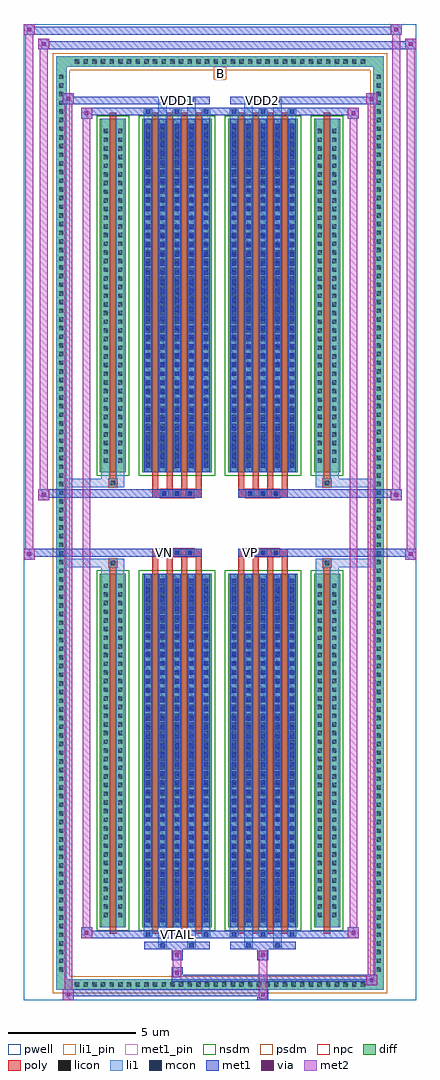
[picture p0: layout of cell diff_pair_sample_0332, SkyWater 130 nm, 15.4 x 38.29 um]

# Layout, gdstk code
import gdstk
lib = gdstk.Library(unit=1e-6, precision=5e-09)
def R(c, l, rs):  # rectangles x0, y0, x1, y1
    for r in rs: c.add(gdstk.rectangle(r[:2], r[2:], *l))
def A(c, l, x, y, w, h, nx, ny, dx, dy):  # array of equal rectangles
    R(c, l, [(x+i*dx, y+j*dy, x+i*dx+w, y+j*dy+h) for i in range(nx) for j in range(ny)])
def P(c, l, *ps):  # polygons
    for p in ps: c.add(gdstk.Polygon(p, *l))
pwell = (64, 44)
diff = (65, 20)
poly = (66, 20)
licon = (66, 44)
li1_pin = (67, 16)
li1 = (67, 20)
mcon = (67, 44)
met1_pin = (68, 16)
met1 = (68, 20)
via = (68, 44)
met2 = (69, 20)
nsdm = (93, 44)
psdm = (94, 20)
npc = (95, 20)

diff_pair_sample_0332 = lib.new_cell('diff_pair_sample_0332')
R(diff_pair_sample_0332, pwell, [(-7.7,-18.71,7.7,19.58), (-5.02,-16.9,-0.01,-0.8), (0.01,-16.9,5.02,-0.8), (-5.02,0.8,-0.01,16.9), (0.01,0.8,5.02,16.9)])
A(diff_pair_sample_0332, diff, -5.815, -18.31, 0.41, 0.41, 34, 2, 0.34, 36.21)
A(diff_pair_sample_0332, diff, -6.43, -17.715, 0.41, 0.41, 1, 104, 0, 0.34)
A(diff_pair_sample_0332, diff, 6.02, -17.715, 0.41, 0.41, 1, 104, 0, 0.34)
R(diff_pair_sample_0332, diff, [(-5.815,-18.31,5.815,-17.9), (-6.43,-17.715,-6.02,17.715), (6.02,-17.715,6.43,17.715), (-4.71,-15.855,-3.69,-1.985), (-3.05,-15.855,-0.32,-1.985), (0.32,-15.855,3.05,-1.985), (3.69,-15.855,4.71,-1.985), (-4.71,1.985,-3.69,15.855), (-3.05,1.985,-0.32,15.855), (0.32,1.985,3.05,15.855), (3.69,1.985,4.71,15.855), (-5.815,17.9,5.815,18.31)])
P(diff_pair_sample_0332, diff, [(6.43,18.31),(-6.43,18.31),(-6.43,-17.9),(-6.02,-17.9),(-6.02,17.9),(6.02,17.9),(6.02,-17.9),(-6.02,-17.9),(-6.43,-17.9),(-6.43,-18.31),(6.43,-18.31)])
A(diff_pair_sample_0332, poly, -2.66, -16.105, 0.24, 14.37, 4, 2, 0.57, 17.84)
A(diff_pair_sample_0332, poly, 0.71, -16.105, 0.24, 14.37, 4, 2, 0.57, 17.84)
A(diff_pair_sample_0332, poly, -2.66, -1.735, 0.24, 0.405, 4, 2, 0.57, 3.065)
A(diff_pair_sample_0332, poly, 0.71, -1.735, 0.24, 0.405, 4, 2, 0.57, 3.065)
A(diff_pair_sample_0332, poly, -2.35, -1.33, 0.33, 0.33, 3, 2, 0.5, 2.33)
A(diff_pair_sample_0332, poly, 1.02, -1.33, 0.33, 0.33, 3, 2, 0.5, 2.33)
R(diff_pair_sample_0332, poly, [(-4.32,-16.105,-4.08,-1.735), (4.08,-16.105,4.32,-1.735), (-4.365,-1.735,-4.035,-1.405), (-4.365,-1.735,-4.035,-1.405), (4.035,-1.735,4.365,-1.405), (4.035,-1.735,4.365,-1.405), (-2.66,-1.33,-0.71,-1), (0.71,-1.33,2.66,-1), (-2.66,1,-0.71,1.33), (0.71,1,2.66,1.33), (-4.365,1.405,-4.035,1.735), (-4.365,1.405,-4.035,1.735), (4.035,1.405,4.365,1.735), (4.035,1.405,4.365,1.735), (-4.32,1.735,-4.08,16.105), (4.08,1.735,4.32,16.105)])
A(diff_pair_sample_0332, licon, -5.695, -18.19, 0.17, 0.17, 34, 2, 0.34, 36.21)
A(diff_pair_sample_0332, licon, -6.31, -17.595, 0.17, 0.17, 1, 104, 0, 0.34)
A(diff_pair_sample_0332, licon, 6.14, -17.595, 0.17, 0.17, 1, 104, 0, 0.34)
A(diff_pair_sample_0332, licon, -4.57, -15.465, 0.17, 0.17, 1, 39, 0, 0.34)
A(diff_pair_sample_0332, licon, -4, -15.465, 0.17, 0.17, 1, 39, 0, 0.34)
A(diff_pair_sample_0332, licon, -2.91, -15.465, 0.17, 0.17, 5, 39, 0.57, 0.34)
A(diff_pair_sample_0332, licon, 0.46, -15.465, 0.17, 0.17, 5, 39, 0.57, 0.34)
A(diff_pair_sample_0332, licon, 3.83, -15.465, 0.17, 0.17, 1, 39, 0, 0.34)
A(diff_pair_sample_0332, licon, 4.4, -15.465, 0.17, 0.17, 1, 39, 0, 0.34)
A(diff_pair_sample_0332, licon, -2.27, -1.25, 0.17, 0.17, 3, 2, 0.5, 2.33)
A(diff_pair_sample_0332, licon, 1.1, -1.25, 0.17, 0.17, 3, 2, 0.5, 2.33)
A(diff_pair_sample_0332, licon, -4.57, 2.375, 0.17, 0.17, 1, 39, 0, 0.34)
A(diff_pair_sample_0332, licon, -4, 2.375, 0.17, 0.17, 1, 39, 0, 0.34)
A(diff_pair_sample_0332, licon, -2.91, 2.375, 0.17, 0.17, 5, 39, 0.57, 0.34)
A(diff_pair_sample_0332, licon, 0.46, 2.375, 0.17, 0.17, 5, 39, 0.57, 0.34)
A(diff_pair_sample_0332, licon, 3.83, 2.375, 0.17, 0.17, 1, 39, 0, 0.34)
A(diff_pair_sample_0332, licon, 4.4, 2.375, 0.17, 0.17, 1, 39, 0, 0.34)
R(diff_pair_sample_0332, licon, [(-4.285,-1.655,-4.115,-1.485), (4.115,-1.655,4.285,-1.485), (-4.285,1.485,-4.115,1.655), (4.115,1.485,4.285,1.655)])
R(diff_pair_sample_0332, li1_pin, [(-0.25,17.4,0.25,17.9)])
A(diff_pair_sample_0332, li1, -5.775, -18.27, 0.33, 0.33, 34, 2, 0.34, 36.21)
A(diff_pair_sample_0332, li1, -6.39, -17.675, 0.33, 0.33, 1, 104, 0, 0.34)
A(diff_pair_sample_0332, li1, 6.06, -17.675, 0.33, 0.33, 1, 104, 0, 0.34)
A(diff_pair_sample_0332, li1, -2.99, -16.23, 0.33, 0.375, 3, 2, 1.14, 32.085)
A(diff_pair_sample_0332, li1, -2.91, -16.23, 0.17, 0.17, 3, 2, 1.14, 32.29)
A(diff_pair_sample_0332, li1, 0.38, -16.23, 0.33, 0.375, 3, 2, 1.14, 32.085)
A(diff_pair_sample_0332, li1, 0.46, -16.23, 0.17, 0.17, 3, 2, 1.14, 32.29)
A(diff_pair_sample_0332, li1, -2.99, -15.855, 0.33, 13.87, 5, 2, 0.57, 17.84)
A(diff_pair_sample_0332, li1, 0.38, -15.855, 0.33, 13.87, 5, 2, 0.57, 17.84)
A(diff_pair_sample_0332, li1, -2.91, -15.665, 0.17, 0.17, 5, 38, 0.57, 0.36)
A(diff_pair_sample_0332, li1, -2.91, -15.665, 0.17, 13.49, 5, 2, 0.57, 17.84)
A(diff_pair_sample_0332, li1, 0.46, -15.665, 0.17, 0.17, 5, 38, 0.57, 0.36)
A(diff_pair_sample_0332, li1, 0.46, -15.665, 0.17, 13.49, 5, 2, 0.57, 17.84)
A(diff_pair_sample_0332, li1, -4.65, -15.545, 0.33, 0.33, 1, 39, 0, 0.34)
A(diff_pair_sample_0332, li1, -4.08, -15.545, 0.33, 0.33, 1, 39, 0, 0.34)
A(diff_pair_sample_0332, li1, -2.99, -15.545, 0.33, 0.33, 5, 39, 0.57, 0.34)
A(diff_pair_sample_0332, li1, 0.38, -15.545, 0.33, 0.33, 5, 39, 0.57, 0.34)
A(diff_pair_sample_0332, li1, 3.75, -15.545, 0.33, 0.33, 1, 39, 0, 0.34)
A(diff_pair_sample_0332, li1, 4.32, -15.545, 0.33, 0.33, 1, 39, 0, 0.34)
A(diff_pair_sample_0332, li1, -2.35, -1.33, 0.33, 0.33, 3, 2, 0.5, 2.33)
A(diff_pair_sample_0332, li1, 1.02, -1.33, 0.33, 0.33, 3, 2, 0.5, 2.33)
A(diff_pair_sample_0332, li1, -2.91, 2.175, 0.17, 0.17, 5, 38, 0.57, 0.36)
A(diff_pair_sample_0332, li1, 0.46, 2.175, 0.17, 0.17, 5, 38, 0.57, 0.36)
A(diff_pair_sample_0332, li1, -4.65, 2.295, 0.33, 0.33, 1, 39, 0, 0.34)
A(diff_pair_sample_0332, li1, -4.08, 2.295, 0.33, 0.33, 1, 39, 0, 0.34)
A(diff_pair_sample_0332, li1, -2.99, 2.295, 0.33, 0.33, 5, 39, 0.57, 0.34)
A(diff_pair_sample_0332, li1, 0.38, 2.295, 0.33, 0.33, 5, 39, 0.57, 0.34)
A(diff_pair_sample_0332, li1, 3.75, 2.295, 0.33, 0.33, 1, 39, 0, 0.34)
A(diff_pair_sample_0332, li1, 4.32, 2.295, 0.33, 0.33, 1, 39, 0, 0.34)
R(diff_pair_sample_0332, li1, [(-6.43,-18.31,-6.02,-17.9), (-6.43,-18.31,-6.02,-17.9), (-6.02,-18.31,6.02,-17.9), (6.02,-18.31,6.43,-17.9), (6.02,-18.31,6.43,-17.9), (-6.43,-17.9,-6.02,17.9), (6.02,-17.9,6.43,17.9), (-2.42,-16.66,-2.09,-15.855), (-2.34,-16.66,-2.17,-16.49), (-1.28,-16.66,-0.95,-15.855), (-1.2,-16.66,-1.03,-16.49), (0.95,-16.66,1.28,-15.855), (1.03,-16.66,1.2,-16.49), (2.09,-16.66,2.42,-15.855), (2.17,-16.66,2.34,-16.49), (-4.65,-15.855,-4.32,-1.985), (-4.08,-15.855,-3.75,-1.985), (3.75,-15.855,4.08,-1.985), (4.32,-15.855,4.65,-1.985), (-4.65,-1.985,-4.32,-1.405), (-4.08,-1.985,-3.75,-1.405), (3.75,-1.985,4.08,-1.405), (4.32,-1.985,4.65,-1.405), (-6.43,-1.735,-4.365,-1.405), (-4.65,-1.735,-4.365,-1.405), (-4.365,-1.735,-4.035,-1.405), (-4.035,-1.735,-3.75,-1.405), (3.75,-1.735,4.035,-1.405), (4.035,-1.735,4.365,-1.405), (4.035,-1.735,6.43,-1.405), (4.365,-1.735,4.65,-1.405), (-6.43,1.405,-4.365,1.735), (-4.65,1.405,-4.365,1.735), (-4.65,1.405,-4.32,1.985), (-4.365,1.405,-4.035,1.735), (-4.08,1.405,-3.75,1.985), (-4.035,1.405,-3.75,1.735), (3.75,1.405,4.035,1.735), (3.75,1.405,4.08,1.985), (4.035,1.405,4.365,1.735), (4.035,1.405,6.43,1.735), (4.32,1.405,4.65,1.985), (4.365,1.405,4.65,1.735), (-4.65,1.985,-4.32,15.855), (-4.08,1.985,-3.75,15.855), (3.75,1.985,4.08,15.855), (4.32,1.985,4.65,15.855), (-2.42,15.855,-2.09,16.66), (-1.28,15.855,-0.95,16.66), (0.95,15.855,1.28,16.66), (2.09,15.855,2.42,16.66), (-2.34,16.49,-2.17,16.66), (-1.2,16.49,-1.03,16.66), (1.03,16.49,1.2,16.66), (2.17,16.49,2.34,16.66), (-6.43,17.9,-6.02,18.31), (-6.43,17.9,-6.02,18.31), (-6.02,17.9,6.02,18.31), (6.02,17.9,6.43,18.31), (6.02,17.9,6.43,18.31)])
A(diff_pair_sample_0332, mcon, -2.91, -16.23, 0.17, 0.17, 3, 2, 1.14, 32.29)
A(diff_pair_sample_0332, mcon, 0.46, -16.23, 0.17, 0.17, 3, 2, 1.14, 32.29)
A(diff_pair_sample_0332, mcon, -2.91, -15.665, 0.17, 0.17, 5, 38, 0.57, 0.36)
A(diff_pair_sample_0332, mcon, 0.46, -15.665, 0.17, 0.17, 5, 38, 0.57, 0.36)
A(diff_pair_sample_0332, mcon, -2.27, -1.25, 0.17, 0.17, 3, 2, 0.5, 2.33)
A(diff_pair_sample_0332, mcon, 1.1, -1.25, 0.17, 0.17, 3, 2, 0.5, 2.33)
A(diff_pair_sample_0332, mcon, -2.91, 2.175, 0.17, 0.17, 5, 38, 0.57, 0.36)
A(diff_pair_sample_0332, mcon, 0.46, 2.175, 0.17, 0.17, 5, 38, 0.57, 0.36)
R(diff_pair_sample_0332, mcon, [(-2.34,-16.66,-2.17,-16.49), (-1.2,-16.66,-1.03,-16.49), (1.03,-16.66,1.2,-16.49), (2.17,-16.66,2.34,-16.49), (-2.34,16.49,-2.17,16.66), (-1.2,16.49,-1.03,16.66), (1.03,16.49,1.2,16.66), (2.17,16.49,2.34,16.66)])
R(diff_pair_sample_0332, met1_pin, [(-1.82,-16.27,-1.55,-16), (-2.32,-1.29,-2.05,-1.02), (1.05,-1.29,1.32,-1.02), (-1.82,16.45,-1.55,16.72), (1.55,16.45,1.82,16.72)])
A(diff_pair_sample_0332, met1, -2.97, -16.29, 0.29, 0.29, 3, 2, 1.14, 32.29)
A(diff_pair_sample_0332, met1, 0.4, -16.29, 0.29, 0.29, 3, 2, 1.14, 32.29)
A(diff_pair_sample_0332, met1, -2.97, -15.855, 0.29, 13.87, 5, 2, 0.57, 17.84)
A(diff_pair_sample_0332, met1, 0.4, -15.855, 0.29, 13.87, 5, 2, 0.57, 17.84)
A(diff_pair_sample_0332, met1, -2.97, -15.725, 0.29, 0.29, 5, 38, 0.57, 0.36)
A(diff_pair_sample_0332, met1, 0.4, -15.725, 0.29, 0.29, 5, 38, 0.57, 0.36)
A(diff_pair_sample_0332, met1, -2.33, -1.31, 0.29, 0.29, 3, 2, 0.5, 2.33)
A(diff_pair_sample_0332, met1, 1.04, -1.31, 0.29, 0.29, 3, 2, 0.5, 2.33)
A(diff_pair_sample_0332, met1, -2.97, 2.115, 0.29, 0.29, 5, 38, 0.57, 0.36)
A(diff_pair_sample_0332, met1, 0.4, 2.115, 0.29, 0.29, 5, 38, 0.57, 0.36)
R(diff_pair_sample_0332, met1, [(-6.16,-18.71,-5.73,-18.28), (1.47,-18.71,1.9,-18.28), (-6.16,-18.57,1.9,-18.28), (5.73,-18.14,6.16,-17.71), (-1.9,-18,6.16,-17.71), (-1.9,-17.86,-1.47,-17.43), (-1.9,-17.15,-1.47,-16.72), (1.47,-17.15,1.9,-16.72), (-2.97,-16.72,-0.4,-16.43), (-2.4,-16.72,-2.11,-16.43), (-1.26,-16.72,-0.97,-16.43), (0.4,-16.72,2.97,-16.43), (0.97,-16.72,1.26,-16.43), (2.11,-16.72,2.4,-16.43), (-5.45,-16.29,-5.02,-15.86), (-5.45,-16.29,-2.97,-16), (-2.97,-16.29,-0.4,-16), (-0.4,-16.29,0.4,-16), (0.4,-16.29,2.97,-16), (2.97,-16.29,5.45,-16), (5.02,-16.29,5.45,-15.86), (-7.7,-1.43,-7.27,-1), (7.27,-1.43,7.7,-1), (-7.7,-1.33,-0.71,-1), (-2.66,-1.33,-0.71,-1), (0.71,-1.33,2.66,-1), (0.71,-1.33,7.7,-1), (-7.13,0.9,-6.7,1.33), (6.7,0.9,7.13,1.33), (-7.13,1,-2.66,1.33), (-2.66,1,-0.71,1.33), (0.71,1,2.66,1.33), (2.66,1,7.13,1.33), (-5.45,15.86,-5.02,16.29), (5.02,15.86,5.45,16.29), (-5.45,16,-2.97,16.29), (-2.97,16,-0.4,16.29), (-0.4,16,0.4,16.29), (0.4,16,2.97,16.29), (2.97,16,5.45,16.29), (-6.16,16.43,-5.73,16.86), (-6.16,16.43,-2.97,16.72), (-2.97,16.43,-0.4,16.72), (-2.4,16.43,-2.11,16.72), (-1.26,16.43,-0.97,16.72), (0.4,16.43,2.97,16.72), (0.97,16.43,1.26,16.72), (2.11,16.43,2.4,16.72), (2.97,16.43,6.16,16.72), (5.73,16.43,6.16,16.86), (-7.13,18.58,-6.7,19.01), (-7.13,18.58,-5.02,18.91), (-5.02,18.58,5.02,18.91), (5.02,18.58,7.7,18.91), (7.27,18.58,7.7,19.01), (-7.7,19.15,-7.27,19.58), (-7.7,19.15,-5.02,19.48), (-5.02,19.15,5.02,19.48), (5.02,19.15,7.13,19.48), (6.7,19.15,7.13,19.58)])
R(diff_pair_sample_0332, via, [(-6.02,-18.57,-5.87,-18.42), (1.61,-18.57,1.76,-18.42), (5.87,-18,6.02,-17.85), (-1.76,-17.72,-1.61,-17.57), (-1.76,-17.01,-1.61,-16.86), (1.61,-17.01,1.76,-16.86), (-5.31,-16.15,-5.16,-16), (5.16,-16.15,5.31,-16), (-7.56,-1.29,-7.41,-1.14), (7.41,-1.29,7.56,-1.14), (-6.99,1.04,-6.84,1.19), (6.84,1.04,6.99,1.19), (-5.31,16,-5.16,16.15), (5.16,16,5.31,16.15), (-6.02,16.57,-5.87,16.72), (5.87,16.57,6.02,16.72), (-6.99,18.72,-6.84,18.87), (7.41,18.72,7.56,18.87), (-7.56,19.29,-7.41,19.44), (6.84,19.29,6.99,19.44)])
R(diff_pair_sample_0332, met2, [(-6.16,-18.71,-5.73,-18.28), (-6.09,-18.71,-5.8,16.86), (-5.8,-18.71,-5.73,-18.28), (-6.11,-18.66,-5.78,-18.33), (1.52,-18.66,1.85,-18.33), (1.52,-18.33,1.85,-17.1), (5.73,-18.14,6.16,-17.71), (5.8,-18.14,6.09,16.86), (6.09,-18.14,6.16,-17.71), (5.78,-18.09,6.11,-17.76), (-1.85,-17.81,-1.52,-17.48), (-1.85,-17.48,-1.52,-17.1), (-1.85,-17.1,-1.52,-16.77), (1.52,-17.1,1.85,-16.77), (-5.45,-16.29,-5.02,-15.86), (-5.38,-16.29,-5.09,16.29), (-5.09,-16.29,-5.02,-15.86), (5.02,-16.29,5.45,-15.86), (5.09,-16.29,5.38,16.29), (5.38,-16.29,5.45,-15.86), (-5.4,-16.24,-5.07,-15.91), (5.07,-16.24,5.4,-15.91), (-7.7,-1.43,-7.27,-1), (-7.65,-1.43,-7.32,19.58), (-7.32,-1.43,-7.27,-1), (7.27,-1.43,7.7,-1), (7.32,-1.43,7.65,19.01), (7.65,-1.43,7.7,-1), (-7.65,-1.38,-7.32,-1.05), (7.32,-1.38,7.65,-1.05), (-7.13,0.9,-6.7,1.33), (-7.08,0.9,-6.75,19.01), (-6.75,0.9,-6.7,1.33), (6.7,0.9,7.13,1.33), (6.75,0.9,7.08,19.58), (7.08,0.9,7.13,1.33), (-7.08,0.95,-6.75,1.28), (6.75,0.95,7.08,1.28), (-5.45,15.86,-5.02,16.29), (-5.09,15.86,-5.02,16.29), (5.02,15.86,5.45,16.29), (5.38,15.86,5.45,16.29), (-5.4,15.91,-5.07,16.24), (5.07,15.91,5.4,16.24), (-6.16,16.43,-5.73,16.86), (-5.8,16.43,-5.73,16.86), (5.73,16.43,6.16,16.86), (6.09,16.43,6.16,16.86), (-6.11,16.48,-5.78,16.81), (5.78,16.48,6.11,16.81), (-7.13,18.58,-6.7,19.01), (-6.75,18.58,-6.7,19.01), (7.27,18.58,7.7,19.01), (7.65,18.58,7.7,19.01), (-7.08,18.63,-6.75,18.96), (7.32,18.63,7.65,18.96), (-7.7,19.15,-7.27,19.58), (-7.32,19.15,-7.27,19.58), (6.7,19.15,7.13,19.58), (7.08,19.15,7.13,19.58), (-7.65,19.2,-7.32,19.53), (6.75,19.2,7.08,19.53)])
R(diff_pair_sample_0332, nsdm, [(-4.84,-15.985,-3.56,-1.855), (-3.18,-15.985,-0.19,-1.855), (0.19,-15.985,3.18,-1.855), (3.56,-15.985,4.84,-1.855), (-4.84,1.855,-3.56,15.985), (-3.18,1.855,-0.19,15.985), (0.19,1.855,3.18,15.985), (3.56,1.855,4.84,15.985)])
P(diff_pair_sample_0332, psdm, [(6.56,18.44),(-6.56,18.44),(-6.56,-17.77),(-5.89,-17.77),(-5.89,17.77),(5.89,17.77),(5.89,-17.77),(-5.89,-17.77),(-6.56,-17.77),(-6.56,-18.44),(6.56,-18.44)])
A(diff_pair_sample_0332, npc, -2.37, -1.35, 0.37, 0.37, 3, 2, 0.5, 2.33)
A(diff_pair_sample_0332, npc, 1, -1.35, 0.37, 0.37, 3, 2, 0.5, 2.33)
R(diff_pair_sample_0332, npc, [(-4.385,-1.755,-4.015,-1.385), (4.015,-1.755,4.385,-1.385), (-2.37,-1.35,-1.5,-0.98), (-2.37,-1.35,-1.5,-0.98), (-1.87,-1.35,-1,-0.98), (-1.87,-1.35,-1,-0.98), (1,-1.35,1.87,-0.98), (1,-1.35,1.87,-0.98), (1.5,-1.35,2.37,-0.98), (1.5,-1.35,2.37,-0.98), (-2.37,0.98,-1.5,1.35), (-2.37,0.98,-1.5,1.35), (-1.87,0.98,-1,1.35), (-1.87,0.98,-1,1.35), (1,0.98,1.87,1.35), (1,0.98,1.87,1.35), (1.5,0.98,2.37,1.35), (1.5,0.98,2.37,1.35), (-4.385,1.385,-4.015,1.755), (4.015,1.385,4.385,1.755)])
diff_pair_sample_0332.add(gdstk.Label('VTAIL', (-1.685,-16.135), layer=68, texttype=5))
diff_pair_sample_0332.add(gdstk.Label('VN', (-2.185,-1.155), layer=68, texttype=5))
diff_pair_sample_0332.add(gdstk.Label('VP', (1.185,-1.155), layer=68, texttype=5))
diff_pair_sample_0332.add(gdstk.Label('B', (0,17.65), layer=67, texttype=5))
diff_pair_sample_0332.add(gdstk.Label('VDD2', (1.685,16.585), layer=68, texttype=5))
diff_pair_sample_0332.add(gdstk.Label('VDD1', (-1.685,16.585), layer=68, texttype=5))

lib.write_gds('diff_pair_sample_0332.gds')
